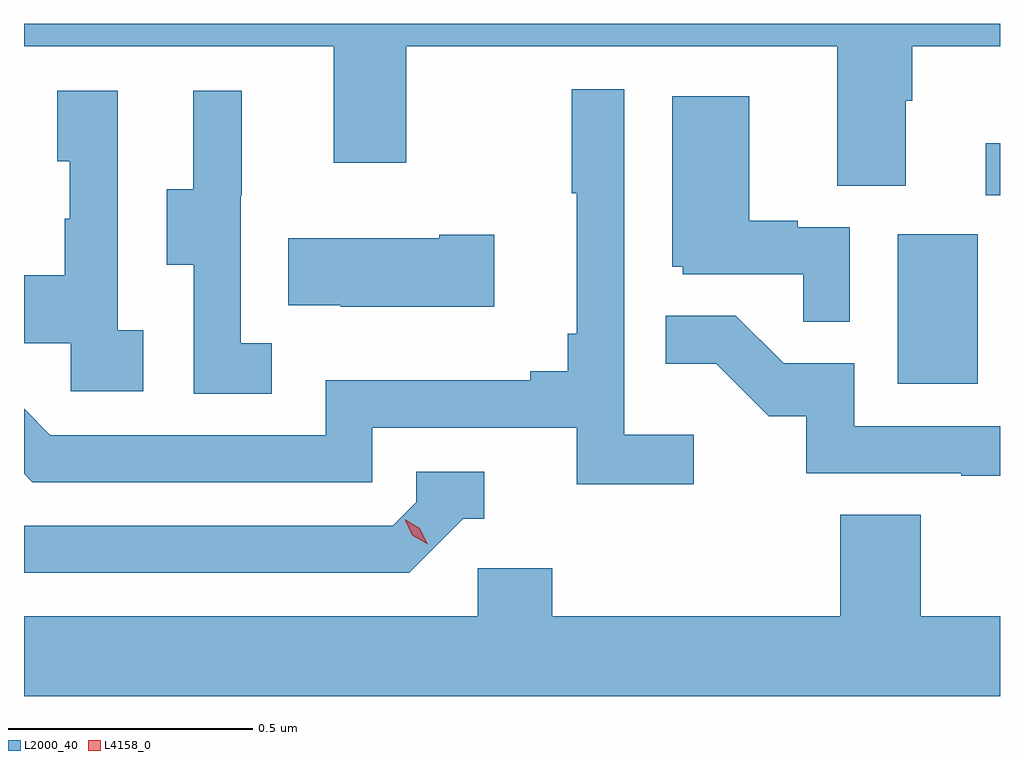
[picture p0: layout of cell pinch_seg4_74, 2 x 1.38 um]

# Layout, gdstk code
import gdstk
lib = gdstk.Library(unit=1e-6, precision=1e-09)
def R(c, l, rs):  # rectangles x0, y0, x1, y1
    for r in rs: c.add(gdstk.rectangle(r[:2], r[2:], *l))
def P(c, l, *ps):  # polygons
    for p in ps: c.add(gdstk.Polygon(p, *l))
L2000_40 = (2000, 40)
L4158_0 = (4158, 0)

pinch_seg4_74 = lib.new_cell('pinch_seg4_74')
R(pinch_seg4_74, L2000_40, [(1038.266,821.436,1038.43,821.743), (1038.447,821.823,1038.476,821.929)])
P(pinch_seg4_74, L2000_40, [(1038.283,822.016),(1038.296,822.016),(1038.296,822.128),(1038.476,822.128),(1038.476,822.174),(1036.476,822.174),(1036.476,822.128),(1037.111,822.128),(1037.111,821.889),(1037.259,821.889),(1037.259,822.128),(1038.143,822.128),(1038.143,821.842),(1038.283,821.842)],
  [(1037.848,821.332),(1037.706,821.332),(1037.706,822.04),(1037.598,822.04),(1037.598,821.827),(1037.609,821.827),(1037.609,821.539),(1037.59,821.539),(1037.59,821.462),(1037.513,821.462),(1037.513,821.443),(1037.094,821.443),(1037.094,821.331),(1036.53,821.331),(1036.476,821.385),(1036.476,821.252),(1036.493,821.235),(1037.19,821.235),(1037.19,821.346),(1037.609,821.346),(1037.609,821.23),(1037.848,821.23)],
  [(1036.984,821.519),(1036.92,821.519),(1036.92,821.823),(1036.922,821.823),(1036.922,822.037),(1036.823,822.037),(1036.823,821.835),(1036.769,821.835),(1036.769,821.68),(1036.824,821.68),(1036.824,821.416),(1036.984,821.416)],
  [(1036.72,821.546),(1036.668,821.546),(1036.668,822.037),(1036.544,822.037),(1036.544,821.892),(1036.57,821.892),(1036.57,821.774),(1036.56,821.774),(1036.56,821.659),(1036.476,821.659),(1036.476,821.519),(1036.572,821.519),(1036.572,821.421),(1036.72,821.421)],
  [(1038.168,821.757),(1038.062,821.757),(1038.062,821.77),(1037.962,821.77),(1037.962,822.025),(1037.804,822.025),(1037.804,821.676),(1037.826,821.676),(1037.826,821.661),(1038.073,821.661),(1038.073,821.563),(1038.168,821.563)],
  [(1037.44,821.742),(1037.327,821.742),(1037.327,821.734),(1037.017,821.734),(1037.017,821.597),(1037.125,821.597),(1037.125,821.594),(1037.44,821.594)],
  [(1038.476,821.349),(1038.177,821.349),(1038.177,821.478),(1038.033,821.478),(1037.935,821.576),(1037.791,821.576),(1037.791,821.477),(1037.895,821.477),(1038.002,821.37),(1038.079,821.37),(1038.079,821.253),(1038.397,821.253),(1038.397,821.248),(1038.476,821.248)],
  [(1037.376,821.16),(1037.419,821.16),(1037.419,821.256),(1037.28,821.256),(1037.28,821.193),(1037.232,821.145),(1036.476,821.145),(1036.476,821.049),(1037.265,821.049)],
  [(1038.476,820.96),(1038.314,820.96),(1038.314,821.168),(1038.149,821.168),(1038.149,820.96),(1037.558,820.96),(1037.558,821.058),(1037.406,821.058),(1037.406,820.96),(1036.476,820.96),(1036.476,820.796),(1038.476,820.796)])
P(pinch_seg4_74, L4158_0, [(1037.303,821.107),(1037.272,821.126),(1037.256,821.159),(1037.256,821.159),(1037.256,821.159),(1037.287,821.14),(1037.303,821.107),(1037.303,821.107)])

lib.write_gds('pinch_seg4_74.gds')
